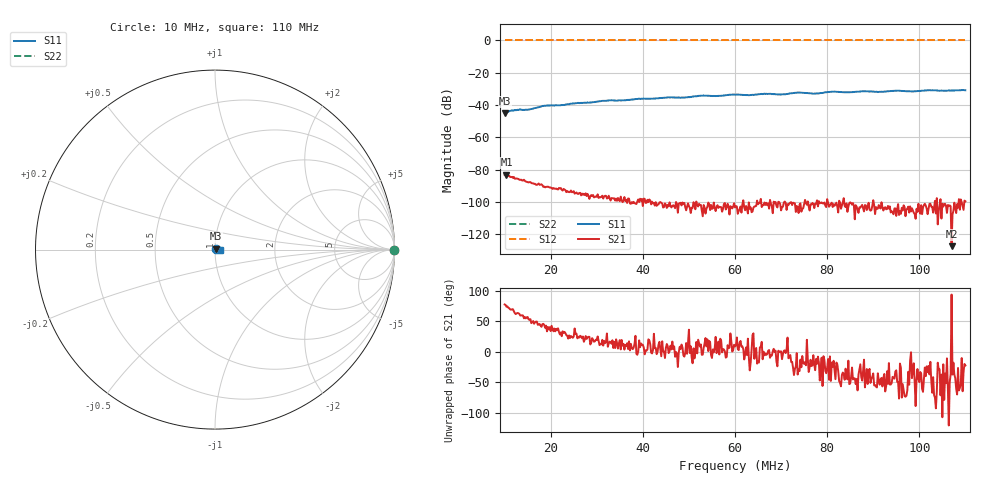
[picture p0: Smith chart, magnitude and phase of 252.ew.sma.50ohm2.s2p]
! Anritsu VNA Master:  Model: MS2036C/10/77
! SN:  1601066
! /card0/usr/50ohm2.s2p
! Existing Calibration Information:
! TYPE:  Current Settings,  Active Cal Settings
! TIME:  12/20/2017 03:53:16 PM,  12/20/2017 03:36:34 PM
! INTERNAL TEMP:  44.3 C,  44.5 C
! # POINTS:  501,  501
! START FREQ:  10.000 MHz,  10.000 MHz
! STOP FREQ:  110.000 MHz,  110.000 MHz
! SOURCE POWER:  High,  High
! IFBW:  100 Hz,  100 Hz
! AVG FACTOR:  1 ,  1
! REF PLANE 1:  0 mm,  0 mm
! REF PLANE 2:  0 mm,  0 mm
! CAL TYPE:  Full S11,  Full S11
! CAL METHOD:  SOLT,  SOLT
! CAL LINE TYPE:  Coax,  Coax
! DUT PORT 1:  K-Conn(F),  K-Conn(F)
! DUT PORT 2:  K-Conn(F),  K-Conn(F)
! CAL STATUS:  OK: Accuracy High,  --
# GHZ S DB R 50.0
! FREQ.GHZ  S11DB  S11A  S21DB  S21A  S12DB  S12A  S22DB  S22A
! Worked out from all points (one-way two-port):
!   501 points, 10 MHz to 110 MHz, reference 50 ohm
!   highest |S21| = -83.07 dB at 10.4 MHz (marker M1); lowest = -127.5 dB at 107 MHz (marker M2)
!   lowest |S11| = -45.1 dB at 10 MHz (marker M3), VSWR 1.01, Z = 50.3 + j0.457 ohm
!   |S11| at or under -10 dB: start of sweep to end of sweep
!   |S22| runs from 0.0 to 0.0 dB; largest |S21 - S12| = 1
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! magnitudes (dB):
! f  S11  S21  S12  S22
! 10 MHz  -45.1  -83.2  0.0  0.0
! 10.4 MHz  -44.7  -83.1  0.0  0.0
! 11.4 MHz  -43.5  -84.7  0.0  0.0
! 15.2 MHz  -42.9  -88.0  0.0  0.0
! 18.6 MHz  -40.4  -90.5  0.0  0.0
! 22.4 MHz  -40.0  -92.5  0.0  0.0
! 26.8 MHz  -38.8  -94.9  0.0  0.0
! 32.8 MHz  -37.1  -97.8  0.0  0.0
! 43.4 MHz  -35.8  -101.6  0.0  0.0
! 60 MHz  -33.6  -103.4  0.0  0.0
! 63.2 MHz  -33.9  -104.3  0.0  0.0
! 66.6 MHz  -33.1  -101.9  0.0  0.0
! 70.2 MHz  -33.4  -103.3  0.0  0.0
! 74 MHz  -32.3  -101.8  0.0  0.0
! 76.8 MHz  -32.9  -100.7  0.0  0.0
! 81.4 MHz  -31.8  -101.4  0.0  0.0
! 84.8 MHz  -32.1  -100.8  0.0  0.0
! 87.8 MHz  -31.5  -103.9  0.0  0.0
! 90.8 MHz  -31.8  -104.4  0.0  0.0
! 93.4 MHz  -31.4  -104.2  0.0  0.0
! 107 MHz  -31.0  -127.5  0.0  0.0
! 110 MHz  -30.8  -99.7  0.0  0.0
